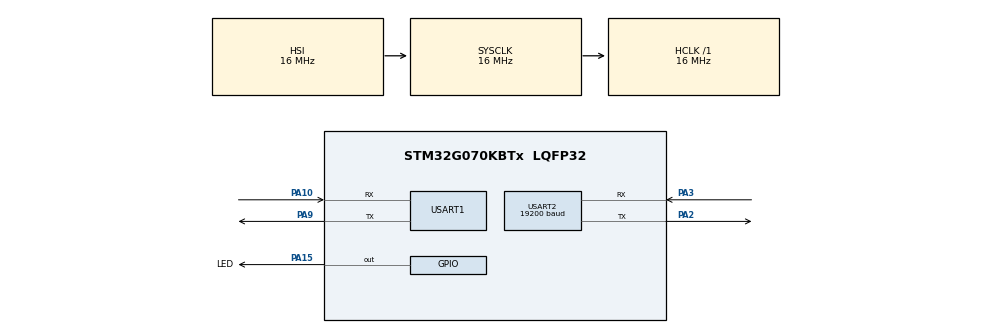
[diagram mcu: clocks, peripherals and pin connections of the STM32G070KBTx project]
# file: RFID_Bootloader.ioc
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Mcu.Family=STM32G0
Mcu.Name=STM32G070KBTx
Mcu.Package=LQFP32
NVIC.USART2_IRQn=true\:0\:0\:false\:false\:true\:true\:true\:true
PA10.Mode=Asynchronous
PA10.Signal=USART1_RX
PA15.GPIO_Label=LED
PA15.Signal=GPIO_Output
PA2.Mode=Asynchronous
PA2.Signal=USART2_TX
PA3.Mode=Asynchronous
PA3.Signal=USART2_RX
PA9.Mode=Asynchronous
PA9.Signal=USART1_TX
ProjectManager.HeapSize=0x200
ProjectManager.StackSize=0x400
ProjectManager.TargetToolchain=STM32CubeIDE
RCC.AHBFreq_Value=16000000
RCC.CortexFreq_Value=16000000
RCC.EXTERNAL_CLOCK_VALUE=48000
RCC.HCLKFreq_Value=16000000
RCC.HSE_VALUE=8000000
RCC.HSI_VALUE=16000000
RCC.LSE_VALUE=32768
RCC.SYSCLKFreq_VALUE=16000000
RCC.VCOOutputFreq_Value=128000000
USART1.VirtualMode-Asynchronous=VM_ASYNC
USART2.BaudRate=19200
USART2.VirtualMode-Asynchronous=VM_ASYNC
VP_CRC_VS_CRC.Mode=CRC_Activate
VP_SYS_VS_DBSignals.Mode=DisableDeadBatterySignals
board=custom

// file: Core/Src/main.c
/* USER CODE BEGIN Header */
/**
  ******************************************************************************
  * @file           : main.c
  * @brief          : Main program body
  ******************************************************************************
  * @attention
  *
  * Copyright (c) 2024 STMicroelectronics.
  * All rights reserved.
  *
  * This software is licensed under terms that can be found in the LICENSE file
  * in the root directory of this software component.
  * If no LICENSE file comes with this software, it is provided AS-IS.
  *
  ******************************************************************************
  */
/* USER CODE END Header */
#include "main.h"

/* USER CODE BEGIN Includes */
#include <stdio.h>
//#include <string.h>

#include "eeprom_emul.h"
/* USER CODE END Includes */

/* USER CODE BEGIN PD */

#define DEFAULT_APP1_START_ADDRESS 0x08005000
#define DEFAULT_APP2_START_ADDRESS 0x08012000

/* USER CODE END PD */

/* USER CODE BEGIN PM */

#define LED_ON 	(LED_GPIO_Port->ODR |= LED_Pin)
#define LED_OFF (LED_GPIO_Port->ODR &= ~LED_Pin)

/* USER CODE END PM */

CRC_HandleTypeDef hcrc;

UART_HandleTypeDef huart1;
UART_HandleTypeDef huart2;

/* USER CODE BEGIN PV */

uint16_t application_write_idx = 0;

/*##################################*/
/* EEPROM EMULATION VARIABLES */
__IO uint32_t ErasingOnGoing = 0;
EE_Status EE_status = EE_OK;
//uint32_t eeprom_conf_app_addr;
/*##################################*/

/* USER CODE END PV */

void SystemClock_Config(void);
static void MX_GPIO_Init(void);
static void MX_USART1_UART_Init(void);
static void MX_CRC_Init(void);
static void MX_USART2_UART_Init(void);
/* USER CODE BEGIN PFP */

static void eeprom_read_conf(uint32_t *value);
static void eeprom_write_conf(uint32_t value);

static void goto_application(void);
static HAL_StatusTypeDef copy_App2_to_App1(uint8_t *data, uint16_t data_len);

/* USER CODE END PFP */

int main(void)
{

  /* MCU Configuration--------------------------------------------------------*/

  /* Reset of all peripherals, Initializes the Flash interface and the Systick. */
  HAL_Init();

  /* Configure the system clock */
  SystemClock_Config();

  /* Initialize all configured peripherals */
  MX_GPIO_Init();
  MX_USART1_UART_Init();
  MX_CRC_Init();
  MX_USART2_UART_Init();
  /* USER CODE BEGIN 2 */

  /*############################*/
  /*      EERPOM Emulation      */

  /* Enable and set FLASH Interrupt priority */
  /* FLASH interrupt is used for the purpose of pages clean up under interrupt */
  HAL_NVIC_SetPriority(FLASH_IRQn, 0, 0);
  HAL_NVIC_EnableIRQ(FLASH_IRQn);

  /* Activate NMI generation when two errors are detected */
  __HAL_FLASH_ENABLE_IT(FLASH_IT_ECCC);

  /* Set EEPROM emulation firmware to erase all potentially incompletely erased
     pages if the system came from an asynchronous reset. Conditional erase is
     safe to use if all Flash operations where completed before the system reset */

    /* System reset comes from a power-on reset: Forced Erase */
    /* Initialize EEPROM emulation driver (mandatory) */
	HAL_FLASH_Unlock();
    EE_status = EE_Init(EE_FORCED_ERASE);
    HAL_FLASH_Lock();
    if(EE_status != EE_OK) {Error_Handler();}

  /*    End EERPOM Emulation    */
  /*############################*/

  uint8_t uart_data;
  HAL_UART_Receive_IT(&huart2, &uart_data, 1);

  uint32_t value;
  eeprom_read_conf(&value);

//  printf("Valor lido da EEPROM: %08lX\n", value);

  uint16_t fw_len = value;

  if(fw_len)
  {
	  printf("New firmware size: %d\n", fw_len);

	  application_write_idx = 0;
	  fw_len = (fw_len % 8) ? fw_len + 8 - (fw_len % 8) : fw_len;

	  uint32_t APP2_Address = DEFAULT_APP2_START_ADDRESS;
	  copy_App2_to_App1( (uint8_t *)(APP2_Address), fw_len);

	  eeprom_write_conf(0x00000000);

  }

  for(uint8_t i = 0; i < 3; i++)
  {
//	  HAL_GPIO_WritePin(LED_GPIO_Port, LED_Pin, GPIO_PIN_SET);
	  LED_ON;
	  HAL_Delay(80);
//	  HAL_GPIO_WritePin(LED_GPIO_Port, LED_Pin, GPIO_PIN_RESET);
	  LED_OFF;
	  HAL_Delay(80);
  }

    // Jump to application
    printf("Going to APP1\n");
    goto_application();

  /* USER CODE END 2 */

  /* Infinite loop */
  while (1)
  {

  }
}

void SystemClock_Config(void)
{
  RCC_OscInitTypeDef RCC_OscInitStruct = {0};
  RCC_ClkInitTypeDef RCC_ClkInitStruct = {0};

  /** Configure the main internal regulator output voltage
  */
  HAL_PWREx_ControlVoltageScaling(PWR_REGULATOR_VOLTAGE_SCALE1);

  /** Initializes the RCC Oscillators according to the specified parameters
  * in the RCC_OscInitTypeDef structure.
  */
  RCC_OscInitStruct.OscillatorType = RCC_OSCILLATORTYPE_HSI;
  RCC_OscInitStruct.HSIState = RCC_HSI_ON;
  RCC_OscInitStruct.HSIDiv = RCC_HSI_DIV1;
  RCC_OscInitStruct.HSICalibrationValue = RCC_HSICALIBRATION_DEFAULT;
  RCC_OscInitStruct.PLL.PLLState = RCC_PLL_NONE;
  if (HAL_RCC_OscConfig(&RCC_OscInitStruct) != HAL_OK)
  {
    Error_Handler();
  }

  /** Initializes the CPU, AHB and APB buses clocks
  */
  RCC_ClkInitStruct.ClockType = RCC_CLOCKTYPE_HCLK|RCC_CLOCKTYPE_SYSCLK
                              |RCC_CLOCKTYPE_PCLK1;
  RCC_ClkInitStruct.SYSCLKSource = RCC_SYSCLKSOURCE_HSI;
  RCC_ClkInitStruct.AHBCLKDivider = RCC_SYSCLK_DIV1;
  RCC_ClkInitStruct.APB1CLKDivider = RCC_HCLK_DIV1;

  if (HAL_RCC_ClockConfig(&RCC_ClkInitStruct, FLASH_LATENCY_0) != HAL_OK)
  {
    Error_Handler();
  }
}

static void MX_CRC_Init(void)
{

  hcrc.Instance = CRC;
  hcrc.Init.DefaultPolynomialUse = DEFAULT_POLYNOMIAL_ENABLE;
  hcrc.Init.DefaultInitValueUse = DEFAULT_INIT_VALUE_ENABLE;
  hcrc.Init.InputDataInversionMode = CRC_INPUTDATA_INVERSION_NONE;
  hcrc.Init.OutputDataInversionMode = CRC_OUTPUTDATA_INVERSION_DISABLE;
  hcrc.InputDataFormat = CRC_INPUTDATA_FORMAT_BYTES;
  if (HAL_CRC_Init(&hcrc) != HAL_OK)
  {
    Error_Handler();
  }

}

static void MX_USART1_UART_Init(void)
{

  huart1.Instance = USART1;
  huart1.Init.BaudRate = 115200;
  huart1.Init.WordLength = UART_WORDLENGTH_8B;
  huart1.Init.StopBits = UART_STOPBITS_1;
  huart1.Init.Parity = UART_PARITY_NONE;
  huart1.Init.Mode = UART_MODE_TX_RX;
  huart1.Init.HwFlowCtl = UART_HWCONTROL_NONE;
  huart1.Init.OverSampling = UART_OVERSAMPLING_16;
  huart1.Init.OneBitSampling = UART_ONE_BIT_SAMPLE_DISABLE;
  huart1.Init.ClockPrescaler = UART_PRESCALER_DIV1;
  huart1.AdvancedInit.AdvFeatureInit = UART_ADVFEATURE_NO_INIT;
  if (HAL_UART_Init(&huart1) != HAL_OK)
  {
    Error_Handler();
  }
  if (HAL_UARTEx_SetTxFifoThreshold(&huart1, UART_TXFIFO_THRESHOLD_1_8) != HAL_OK)
  {
    Error_Handler();
  }
  if (HAL_UARTEx_SetRxFifoThreshold(&huart1, UART_RXFIFO_THRESHOLD_1_8) != HAL_OK)
  {
    Error_Handler();
  }
  if (HAL_UARTEx_DisableFifoMode(&huart1) != HAL_OK)
  {
    Error_Handler();
  }

}

static void MX_USART2_UART_Init(void)
{

  huart2.Instance = USART2;
  huart2.Init.BaudRate = 19200;
  huart2.Init.WordLength = UART_WORDLENGTH_8B;
  huart2.Init.StopBits = UART_STOPBITS_1;
  huart2.Init.Parity = UART_PARITY_NONE;
  huart2.Init.Mode = UART_MODE_TX_RX;
  huart2.Init.HwFlowCtl = UART_HWCONTROL_NONE;
  huart2.Init.OverSampling = UART_OVERSAMPLING_16;
  huart2.Init.OneBitSampling = UART_ONE_BIT_SAMPLE_DISABLE;
  huart2.Init.ClockPrescaler = UART_PRESCALER_DIV1;
  huart2.AdvancedInit.AdvFeatureInit = UART_ADVFEATURE_NO_INIT;
  if (HAL_UART_Init(&huart2) != HAL_OK)
  {
    Error_Handler();
  }
  if (HAL_UARTEx_SetTxFifoThreshold(&huart2, UART_TXFIFO_THRESHOLD_1_8) != HAL_OK)
  {
    Error_Handler();
  }
  if (HAL_UARTEx_SetRxFifoThreshold(&huart2, UART_RXFIFO_THRESHOLD_1_8) != HAL_OK)
  {
    Error_Handler();
  }
  if (HAL_UARTEx_DisableFifoMode(&huart2) != HAL_OK)
  {
    Error_Handler();
  }

}

static void MX_GPIO_Init(void)
{
  GPIO_InitTypeDef GPIO_InitStruct = {0};

  /* GPIO Ports Clock Enable */
  __HAL_RCC_GPIOA_CLK_ENABLE();

  /*Configure GPIO pin Output Level */
  HAL_GPIO_WritePin(LED_GPIO_Port, LED_Pin, GPIO_PIN_RESET);

  /*Configure GPIO pin : LED_Pin */
  GPIO_InitStruct.Pin = LED_Pin;
  GPIO_InitStruct.Mode = GPIO_MODE_OUTPUT_PP;
  GPIO_InitStruct.Pull = GPIO_NOPULL;
  GPIO_InitStruct.Speed = GPIO_SPEED_FREQ_LOW;
  HAL_GPIO_Init(LED_GPIO_Port, &GPIO_InitStruct);

}

/* USER CODE BEGIN 4 */

#ifdef __GNUC__
  /* With GCC, small printf (option LD Linker->Libraries->Small printf
     set to 'Yes') calls __io_putchar() */
int __io_putchar(int ch)
#else
int fputc(int ch, FILE *f)
#endif /* __GNUC__ */
{
  /* Place your implementation of fputc here */
  /* e.g. write a character to the UART3 and Loop until the end of transmission */
  HAL_UART_Transmit(&huart1, (uint8_t *)&ch, 1, HAL_MAX_DELAY);

  return ch;
}

static void eeprom_read_conf(uint32_t *value)
{
	HAL_FLASH_Unlock();

	while(ErasingOnGoing){}

	EE_status = EE_ReadVariable32bits(1, value);

	HAL_FLASH_Lock();

	return;
}

static void eeprom_write_conf(uint32_t value)
{

	HAL_FLASH_Unlock();

	while(ErasingOnGoing){}

	EE_status  = EE_WriteVariable32bits(1, value);

	if ((EE_status & EE_STATUSMASK_CLEANUP) == EE_STATUSMASK_CLEANUP) {ErasingOnGoing = 1;EE_status|= EE_CleanUp_IT();}
	if ((EE_status & EE_STATUSMASK_ERROR) == EE_STATUSMASK_ERROR) {Error_Handler();}

	while(ErasingOnGoing){}

	HAL_FLASH_Lock();

}

static void goto_application( void )
{

	void (*app_reset_handler)(void) = (void*)( *( (volatile uint32_t*)(DEFAULT_APP1_START_ADDRESS + 4U) ) );

//	__set_MSP(*(volatile uint32_t*) ETX_APP_START_ADDRESS);

	// Turn OFF the Led to tell the user that Bootloader is not running
//	HAL_GPIO_WritePin(GPIOC, GPIO_PIN_13, GPIO_PIN_RESET );

	app_reset_handler();    //call the app reset handler
}

static HAL_StatusTypeDef copy_App2_to_App1(uint8_t *data, uint16_t data_len)
{
	HAL_StatusTypeDef ret;

	do
	{
		ret = HAL_FLASH_Unlock();
//		printf("Erasing APP1...\r\n");
		//Erase the Flash
		FLASH_EraseInitTypeDef EraseInitStruct;
		uint32_t SectorError;

		EraseInitStruct.TypeErase	= FLASH_TYPEERASE_PAGES;
		EraseInitStruct.Page		= 10; // Start page of APP1
		EraseInitStruct.NbPages		= 26; // Quant pages of APP1

		ret = HAL_FLASHEx_Erase( &EraseInitStruct, &SectorError );
		FLASH_WaitForLastOperation(HAL_MAX_DELAY);

		if(SectorError != 0xFFFFFFFF)
		{
		  printf("Flash Erase ERROR\r\n");
		  break;
		}
		if( ret != HAL_OK )
		{
		break;
		}
		printf("APP1 Erased!\r\n");

		application_write_idx = 0;

//		printf("data_len: %d\n", data_len);

	    for(int i = 0; i < data_len/8 ; i++)
	    {
	    	FLASH_WaitForLastOperation(HAL_MAX_DELAY);

	      uint64_t doubleword_data = 	data[i * 8] |
	    		  	  	  	  	   ((uint64_t)(data[i * 8 + 1]) << 8)	|
								   ((uint64_t)(data[i * 8 + 2]) << 16)	|
								   ((uint64_t)(data[i * 8 + 3]) << 24)	|
								   ((uint64_t)(data[i * 8 + 4]) << 32)	|
								   ((uint64_t)(data[i * 8 + 5]) << 40)	|
								   ((uint64_t)(data[i * 8 + 6]) << 48)	|
								   ((uint64_t)(data[i * 8 + 7]) << 56);

	      ret = HAL_FLASH_Program( FLASH_TYPEPROGRAM_DOUBLEWORD,
	                               (DEFAULT_APP1_START_ADDRESS + application_write_idx ),
	                               doubleword_data
	                             );
	      FLASH_WaitForLastOperation(HAL_MAX_DELAY);

	      if( ret == HAL_OK )
	      {
	        //update the data count
	        application_write_idx += 8;
	      }
	      else
	      {
	        printf("Flash Write Error...HALT!!!\r\n");
	        break;
	      }
	    }// end for

	    ret = HAL_FLASH_Lock();
	    if( ret != HAL_OK )
	    {
	      break;
	    }

	}while(0);

	printf("Written %d bytes\n", application_write_idx);

	return ret;

}

/* USER CODE END 4 */

void Error_Handler(void)
{
  /* USER CODE BEGIN Error_Handler_Debug */
  /* User can add his own implementation to report the HAL error return state */

	if(EE_status) // if error
	{
		EE_Format(EE_FORCED_ERASE);
		HAL_Delay(100);
		HAL_NVIC_SystemReset();
	}

  __disable_irq();
  while (1)
  {
	  LED_ON;
	  HAL_Delay(1000);
	  LED_OFF;
	  HAL_Delay(1000);
  }
  /* USER CODE END Error_Handler_Debug */
}
